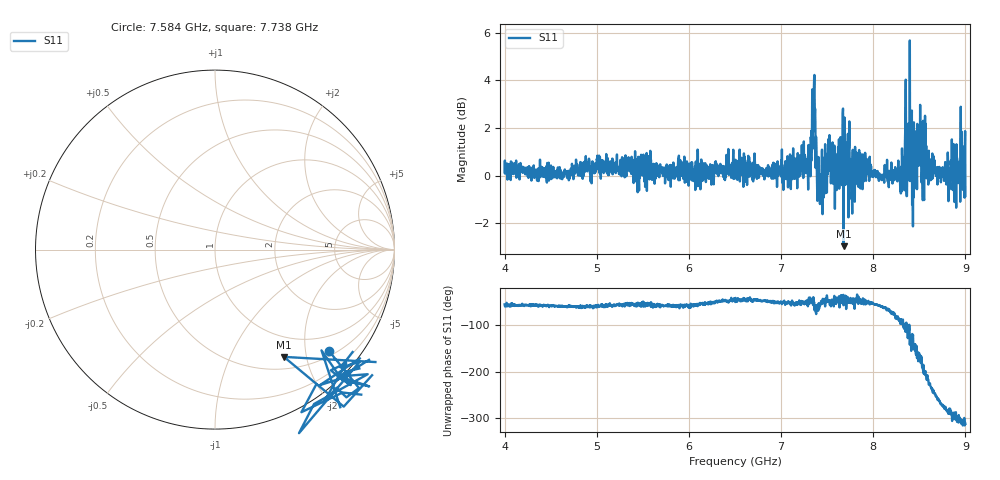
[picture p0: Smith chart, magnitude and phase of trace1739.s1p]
! Created with skrf 1.8.0 (http://scikit-rf.org).
# Hz S RI R 50.0
!freq ReS11 ImS11
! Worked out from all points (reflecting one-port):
!   1601 points, 4 GHz to 9 GHz, reference 50 ohm
!   lowest |S11| = -3.0 dB at 7.678 GHz (marker M1), VSWR 5.91, Z = 33.6 - j81.1 ohm
!   phase of S11 starts at -55 deg and turns -257 deg over the sweep
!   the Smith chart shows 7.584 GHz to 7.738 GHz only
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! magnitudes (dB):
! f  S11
! 4 GHz  0.1
! 4.625 GHz  -0.2
! 5.25 GHz  0.0
! 5.875 GHz  0.3
! 6.5 GHz  -0.1
! 7.125 GHz  0.4
! 7.294 GHz  -0.6
! 7.316 GHz  0.3
! 7.347 GHz  3.2
! 7.362 GHz  4.2
! 7.397 GHz  -0.2
! 7.412 GHz  -0.4
! 7.534 GHz  0.8
! 7.609 GHz  0.6
! 7.65 GHz  0.5
! 7.678 GHz  -3.0
! 7.75 GHz  -0.5
! 7.925 GHz  0.7
! 8.284 GHz  0.1
! 8.316 GHz  0.2
! 8.331 GHz  0.4
! 8.375 GHz  0.1
! 8.425 GHz  -0.9
! 8.522 GHz  1.7
! 8.712 GHz  0.1
! 8.903 GHz  1.3
! 8.972 GHz  0.3
! 9 GHz  -0.9
